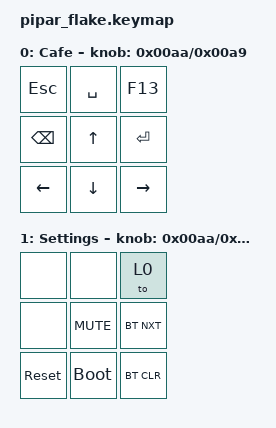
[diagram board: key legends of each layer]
#include <behaviors.dtsi>
#include <dt-bindings/zmk/keys.h>
#include <dt-bindings/zmk/bt.h>
#include <zephyr/dt-bindings/input/input-event-codes.h>
/ {
    sensors: sensors {
        compatible="zmk,keymap-sensors";
        sensors=<&encoder_1>;
        triggers-per-rotation=<20>;
    };
    via_matrix: via_matrix {
        compatible="zmk,via-matrix";
        rows=<3>; columns=<3>; map=<0 1 2 3 4 5 6 7 8>;
    };
    behaviors {
        via_encoder: via_encoder {
            compatible="zmk,via-encoder";
            #binding-cells=<1>; #sensor-binding-cells=<2>;
        };
        via_macro: via_macro { compatible="zmk,via-macro"; #binding-cells=<1>; };
        via_compat: via_compat { compatible="zmk,via-compat"; #binding-cells=<2>; };
        via_mmv: via_mouse_move {
            compatible="zmk,behavior-input-two-axis"; #binding-cells=<1>;
            x-input-code=<INPUT_REL_X>; y-input-code=<INPUT_REL_Y>;
            time-to-max-speed-ms=<300>; acceleration-exponent=<1>;
        };
    };
    keymap {
        compatible="zmk,keymap";
        default_layer {
            display-name="Cafe";
            bindings=<&kp ESC &kp SPACE &kp F13
                      &kp BSPC &kp UP &kp ENTER
                      &kp LEFT &kp DOWN &kp RIGHT>;
            /* VIA encoder parameters are QMK codes, not ZMK HID usages. */
            sensor-bindings=<&via_encoder 0x00aa 0x00a9>;
        };
        function_layer {
            display-name="Settings";
            bindings=<&none &none &to 0
                      &none &kp C_MUTE &bt BT_NXT
                      &sys_reset &bootloader &bt BT_CLR>;
            /* VIA encoder parameters are QMK codes, not ZMK HID usages. */
            sensor-bindings=<&via_encoder 0x00aa 0x00a9>;
        };
    };
};
